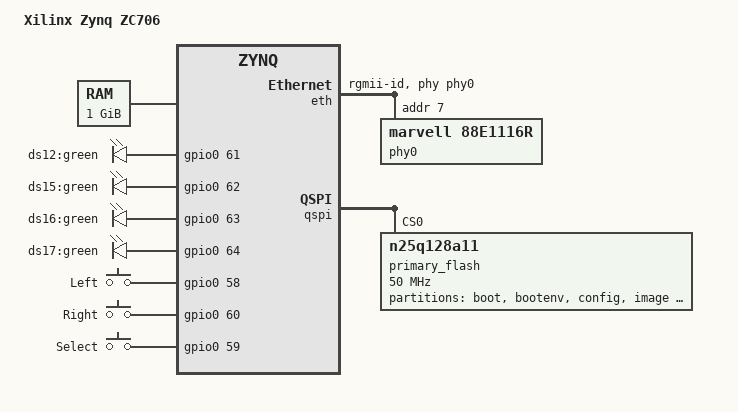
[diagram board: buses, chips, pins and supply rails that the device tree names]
/include/ "zynq.dtsi"

/ {
	model = "Xilinx Zynq ZC706";
	memory {
		device_type = "memory";
		reg = <0x00000000 0x40000000>;
	};

	chosen {
		bootargs = "console=ttyPS0,115200 root=/dev/mmcblk0p2 rw earlyprintk rootfstype=ext4 rootwait";
		linux,stdout-path = "/amba@0/uart@E0001000";
	};

	leds {
		compatible = "gpio-leds";
		ds8 {
			label = "ds12:green";
			gpios = <&gpio0 61 0>;
		};

		ds9 {
			label = "ds15:green";
			gpios = <&gpio0 62 0>;
		};

		ds10 {
			label = "ds16:green";
			gpios = <&gpio0 63 0>;
		};

		ds35 {
			label = "ds17:green";
			gpios = <&gpio0 64 0>;
		};
	};

	gpio_keys {
		compatible = "gpio-keys";
		#address-cells = <1>;
		#size-cells = <0>;
		autorepeat;

		sw7 {
			label = "Left";
			linux,code = <105>; // Left
			gpios = <&gpio0 58 0>;
		};

		sw8 {
			label = "Right";
			linux,code = <106>; // Right
			gpios = <&gpio0 60 0>;
		};

		sw9 {
			label = "Select";
			linux,code = <28>; // Enter
			gpios = <&gpio0 59 0>;
		};
	};
};

&eth {
	status = "okay";
	phy-handle = <&phy0>;
	phy-mode = "rgmii-id";

	phy0: phy@7 {
		compatible = "marvell,88e1116r";
		device_type = "ethernet-phy";
		reg = <0x7>;
	};
};

&usb0 {
	xlnx,phy-reset-gpio = <&gpio0 7 0>;
};

&qspi {
	status = "okay";
	is-dual = <1>;
	num-cs = <1>;
	primary_flash: ps7-qspi@0 {
		#address-cells = <1>;
		#size-cells = <1>;
		spi-tx-bus-width = <1>;
		spi-rx-bus-width = <4>;
		compatible = "n25q128a11";
		reg = <0x0>;
		spi-max-frequency = <50000000>;
		partition@0x00000000 {
			label = "boot";
			reg = <0x00000000 0x00500000>;
		};
		partition@0x00500000 {
			label = "bootenv";
			reg = <0x00500000 0x00020000>;
		};
		partition@0x00520000 {
			label = "config";
			reg = <0x00520000 0x00020000>;
		};
		partition@0x00540000 {
			label = "image";
			reg = <0x00540000 0x00a80000>;
		};
		partition@0x00fc0000 {
			label = "spare";
			reg = <0x00fc0000 0x00000000>;
		};
	};
};
